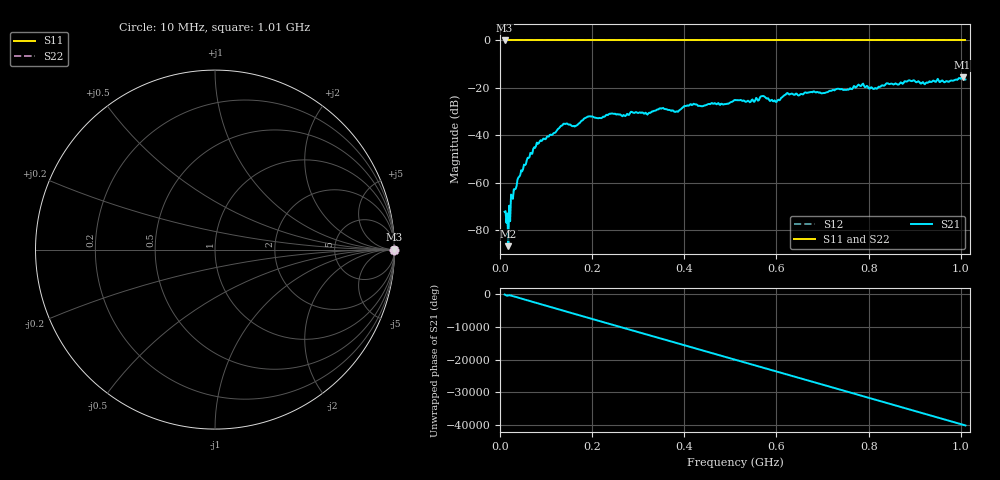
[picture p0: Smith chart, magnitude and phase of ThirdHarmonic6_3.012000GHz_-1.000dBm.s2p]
! 8/17/2025 8:38:41 AM
! C:\ANRITSUVNA\TEMP\TEMP.S2P
! CHANNEL.1
! TR.MEASUREMENT
! RAW.DATA
! RF.CORRECTION.OFF
! AVERAGING.OFF
! IF.BANDWIDTH: 5KHZ
! SWEEPTYPE:  FREQ.SWEEP(Linear)
! Reference Plane Port Info
! PORT:  PORT1  PORT2
! DISTANCE:  0  m  0  m
! TIME:  0  s  0  s
! PHASE.OFFSET:  0  deg.  0  deg.
! LOSS:  0  dB  0  dB
! REF.LOSS:  0  dB  0  dB
! REF.FREQ:  0  Hz  0  Hz
! Power Info
! POWER:  -20  dBm  -20  dBm
! EFF.POWER:  -20  dBm  -20  dBm
! SOURCE.ATTEN:  0  dB  0  dB
! TEST.ATTEN:  0  dB  0  dB
# GHZ S RI R 50.0
! FREQ.GHZ  S11RE  S11IM  S21RE  S21IM  S12RE  S12IM  S22RE  S22IM
!; PortSelection: Port_12
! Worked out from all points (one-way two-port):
!   501 points, 10 MHz to 1.01 GHz, reference 50 ohm
!   highest |S21| = -15.52 dB at 1.004 GHz (marker M1); lowest = -86.7 dB at 18 MHz (marker M2)
!   lowest |S11| = 0.0 dB at 10 MHz (marker M3)
!   |S11| at or under -10 dB: nowhere
!   |S22| runs from 0.0 to 0.0 dB; largest |S21 - S12| = 1.2
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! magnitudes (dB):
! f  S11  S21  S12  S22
! 10 MHz  0.0  -72.2  0.0  0.0
! 18 MHz  0.0  -86.7  0.0  0.0
! 28 MHz  0.0  -66.8  0.0  0.0
! 42 MHz  0.0  -57.4  0.0  0.0
! 76 MHz  0.0  -45.3  0.0  0.0
! 136 MHz  0.0  -35.6  0.0  0.0
! 162 MHz  0.0  -36.3  0.0  0.0
! 178 MHz  0.0  -33.8  0.0  0.0
! 344 MHz  0.0  -29.1  0.0  0.0
! 382 MHz  0.0  -29.9  0.0  0.0
! 416 MHz  0.0  -27.2  0.0  0.0
! 510 MHz  0.0  -25.1  0.0  0.0
! 548 MHz  0.0  -24.9  0.0  0.0
! 570 MHz  0.0  -23.4  0.0  0.0
! 596 MHz  0.0  -25.3  0.0  0.0
! 622 MHz  0.0  -22.3  0.0  0.0
! 678 MHz  0.0  -21.9  0.0  0.0
! 784 MHz  0.0  -19.1  0.0  0.0
! 814 MHz  0.0  -20.1  0.0  0.0
! 844 MHz  0.0  -18.4  0.0  0.0
! 1.004 GHz  0.0  -15.5  0.0  0.0
! 1.01 GHz  0.0  -16.5  0.0  0.0
